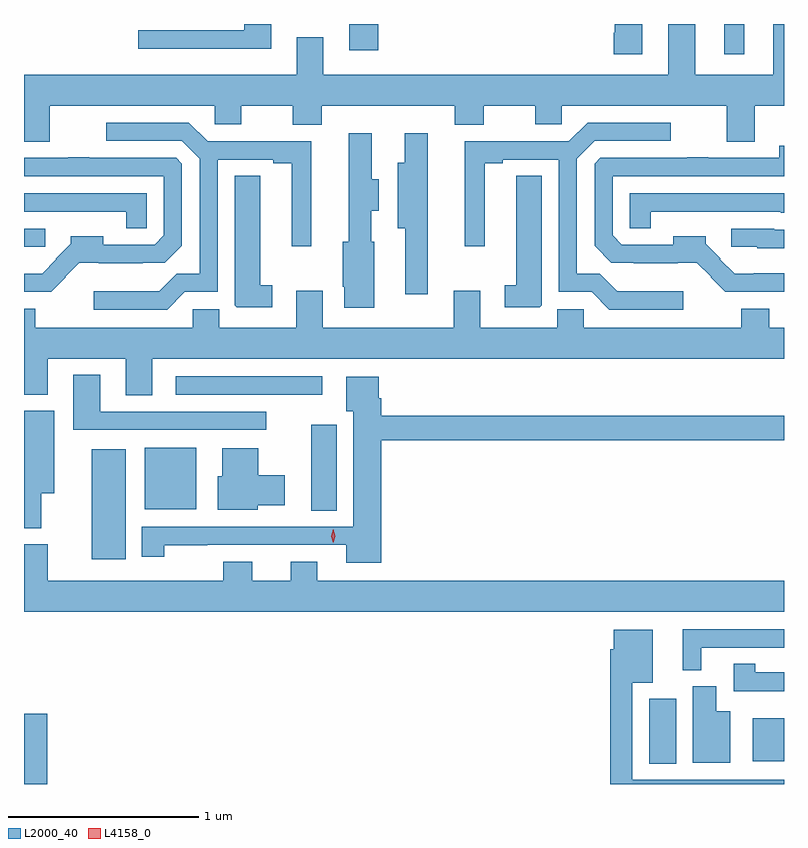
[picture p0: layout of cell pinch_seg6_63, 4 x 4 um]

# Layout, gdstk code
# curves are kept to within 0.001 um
import gdstk
lib = gdstk.Library(unit=1e-6, precision=1e-09)
def R(c, l, rs):  # rectangles x0, y0, x1, y1
    for r in rs: c.add(gdstk.rectangle(r[:2], r[2:], *l))
def P(c, l, *ps):  # polygons
    for p in ps: c.add(gdstk.Polygon(p, *l))
L2000_40 = (2000, 40)
L4158_0 = (4158, 0)

pinch_seg6_63 = lib.new_cell('pinch_seg6_63')
R(pinch_seg6_63, L2000_40, [(937.953,950.426,938.075,950.796), (941.243,950.533,941.386,950.875), (941.789,950.546,941.953,950.773), (938.309,951.608,938.488,952.189), (939.464,951.865,939.598,952.318), (938.588,951.872,938.86,952.195), (938.751,952.476,939.523,952.572), (937.953,953.253,938.064,953.349), (941.639,954.267,941.743,954.426), (939.665,954.288,939.818,954.426)])
P(pinch_seg6_63, L2000_40, [(939.253,954.426),(939.113,954.426),(939.113,954.393),(938.553,954.393),(938.553,954.296),(939.253,954.296)],
  [(938.089,953.996),(938.958,953.996),(938.958,953.898),(939.097,953.898),(939.097,953.996),(939.368,953.996),(939.368,953.897),(939.521,953.897),(939.521,953.996),(940.22,953.996),(940.22,953.897),(940.372,953.897),(940.372,953.996),(940.643,953.996),(940.643,953.898),(940.782,953.898),(940.782,953.996),(941.651,953.996),(941.651,953.806),(941.799,953.806),(941.799,953.996),(941.953,953.996),(941.953,954.426),(941.897,954.426),(941.897,954.16),(941.485,954.16),(941.485,954.426),(941.345,954.426),(941.345,954.16),(939.529,954.16),(939.529,954.355),(939.389,954.355),(939.389,954.16),(937.953,954.16),(937.953,953.806),(938.089,953.806)],
  [(941.206,954.426),(941.062,954.426),(941.062,954.379),(941.057,954.379),(941.057,954.267),(941.206,954.267)],
  [(941.422,953.02),(941.075,953.02),(940.984,953.111),(940.863,953.111),(940.863,953.718),(940.956,953.811),(941.356,953.811),(941.356,953.907),(940.919,953.907),(940.82,953.808),(940.274,953.808),(940.274,953.256),(940.378,953.256),(940.378,953.692),(940.474,953.692),(940.474,953.712),(940.767,953.712),(940.767,953.016),(940.941,953.016),(941.034,952.923),(941.422,952.923)],
  [(938.799,953.016),(938.973,953.016),(938.973,953.712),(939.266,953.712),(939.266,953.692),(939.362,953.692),(939.362,953.256),(939.466,953.256),(939.466,953.808),(938.92,953.808),(938.821,953.907),(938.385,953.907),(938.385,953.811),(938.784,953.811),(938.877,953.718),(938.877,953.111),(938.756,953.111),(938.665,953.02),(938.319,953.02),(938.319,952.923),(938.706,952.923)],
  [(940.078,953.851),(939.956,953.851),(939.956,953.695),(939.92,953.695),(939.92,953.351),(939.959,953.351),(939.959,953.004),(940.078,953.004)],
  [(939.796,953.28),(939.781,953.28),(939.781,953.444),(939.82,953.444),(939.82,953.61),(939.784,953.61),(939.784,953.851),(939.662,953.851),(939.662,953.28),(939.631,953.28),(939.631,953.044),(939.638,953.044),(939.638,952.932),(939.796,952.932)],
  [(941.953,953.113),(941.794,953.113),(941.794,953.111),(941.693,953.111),(941.616,953.187),(941.619,953.19),(941.54,953.269),(941.54,953.308),(941.369,953.308),(941.369,953.265),(941.1,953.265),(941.052,953.313),(941.052,953.625),(941.953,953.625),(941.953,953.785),(941.929,953.785),(941.929,953.721),(941.555,953.721),(941.555,953.726),(941.443,953.726),(941.443,953.721),(940.986,953.721),(940.956,953.691),(940.956,953.259),(941.045,953.17),(941.161,953.17),(941.161,953.168),(941.495,953.169),(941.569,953.095),(941.567,953.093),(941.643,953.016),(941.953,953.016)],
  [(938.173,953.093),(938.171,953.095),(938.245,953.169),(938.579,953.168),(938.579,953.17),(938.695,953.17),(938.784,953.259),(938.784,953.691),(938.754,953.721),(938.297,953.721),(938.297,953.726),(938.185,953.726),(938.185,953.721),(937.953,953.721),(937.953,953.625),(938.688,953.625),(938.688,953.313),(938.64,953.265),(938.371,953.265),(938.371,953.308),(938.2,953.308),(938.2,953.269),(938.121,953.19),(938.124,953.187),(938.048,953.111),(937.953,953.111),(937.953,953.016),(938.097,953.016)],
  [(939.259,953.051),(939.196,953.051),(939.196,953.627),(939.062,953.627),(939.062,952.945),(939.072,952.935),(939.259,952.935)],
  [(940.678,952.945),(940.678,953.627),(940.544,953.627),(940.544,953.051),(940.482,953.051),(940.482,952.935),(940.668,952.935)],
  [(938.598,953.535),(937.953,953.535),(937.953,953.439),(938.235,953.439),(938.235,953.438),(938.49,953.438),(938.49,953.35),(938.598,953.35)],
  [(941.251,953.438),(941.505,953.438),(941.505,953.439),(941.937,953.439),(941.937,953.432),(941.953,953.432),(941.953,953.535),(941.142,953.535),(941.142,953.35),(941.251,953.35)],
  [(941.953,953.343),(941.901,953.343),(941.901,953.349),(941.676,953.349),(941.676,953.253),(941.811,953.253),(941.811,953.246),(941.953,953.246)],
  [(938.629,952.664),(941.953,952.664),(941.953,952.828),(941.875,952.828),(941.875,952.927),(941.728,952.927),(941.728,952.828),(940.899,952.828),(940.899,952.926),(940.76,952.926),(940.76,952.828),(940.354,952.828),(940.354,953.023),(940.214,953.023),(940.214,952.828),(939.526,952.828),(939.526,953.023),(939.386,953.023),(939.386,952.828),(938.98,952.828),(938.98,952.926),(938.841,952.926),(938.841,952.828),(938.013,952.828),(938.013,952.927),(937.953,952.927),(937.953,952.475),(938.077,952.475),(938.077,952.664),(938.489,952.664),(938.489,952.471),(938.629,952.471)],
  [(939.229,952.386),(938.353,952.386),(938.353,952.579),(938.213,952.579),(938.213,952.29),(939.229,952.29)],
  [(939.833,952.234),(941.953,952.234),(941.953,952.363),(939.833,952.363),(939.833,952.457),(939.82,952.457),(939.82,952.57),(939.65,952.57),(939.65,952.388),(939.686,952.388),(939.686,951.78),(938.573,951.78),(938.573,951.621),(938.691,951.621),(938.691,951.683),(938.918,951.683),(938.918,951.684),(939.65,951.684),(939.65,951.59),(939.833,951.59)],
  [(938.044,951.956),(938.113,951.956),(938.113,952.39),(937.953,952.39),(937.953,951.773),(938.044,951.773)],
  [(939.183,951.893),(939.325,951.893),(939.325,952.051),(939.187,952.051),(939.187,952.192),(938.996,952.192),(938.996,952.047),(938.972,952.047),(938.972,951.869),(939.183,951.869)],
  [(941.953,951.496),(939.496,951.496),(939.496,951.595),(939.356,951.595),(939.356,951.496),(939.154,951.496),(939.154,951.595),(939.002,951.595),(939.002,951.496),(938.077,951.496),(938.077,951.688),(937.953,951.688),(937.953,951.332),(941.953,951.332)],
  [(941.518,951.144),(941.953,951.144),(941.953,951.24),(941.42,951.24),(941.42,951.025),(941.518,951.025)],
  [(941.953,950.448),(941.154,950.448),(941.154,950.96),(941.263,950.96),(941.263,951.238),(941.057,951.238),(941.057,951.134),(941.038,951.134),(941.038,950.426),(941.953,950.426)],
  [(941.953,951.013),(941.801,951.013),(941.801,951.059),(941.688,951.059),(941.688,950.915),(941.953,950.915)],
  [(941.671,950.809),(941.596,950.809),(941.596,950.94),(941.474,950.94),(941.474,950.537),(941.671,950.537)])
P(pinch_seg6_63, L4158_0, [(939.58,951.695),(939.58,951.695),(939.57,951.731),(939.58,951.767),(939.58,951.767),(939.581,951.767),(939.59,951.731),(939.581,951.695)])

lib.write_gds('pinch_seg6_63.gds')
